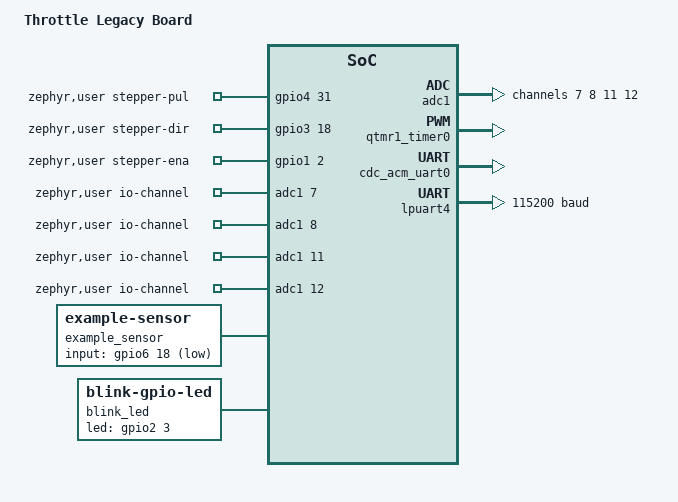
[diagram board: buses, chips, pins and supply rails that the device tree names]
/*
LPL throttle dev 2.5 PCB, from spring/summer 2025.

To find the devicetree equivalent of a teensy GPIO pin:
    1) Find the SOC pin mapped to the teensy pin using the schematic: https://www.pjrc.com/teensy/schematic.html. For
       example, teensy pin 12 -> B0_01
    2) Examine the devicetree for the teensy SOC and find the gpio bank + index corresopnding to the SOC pin:
       https://sourcegraph.com/github.com/zephyrproject-rtos/zephyr/-/blob/dts/arm/nxp/nxp_rt1060.dtsi?L90-94.
       For example:
       B0_01 ->
       ...
         GPIO bank: &gpio2
         vvvvv
       &gpio2 {
           pinmux = <&iomuxc_gpio_b0_00_gpio2_io00>,
                <&iomuxc_gpio_b0_01_gpio2_io01>,
                              ^^^^^         ^^
                              Matching pin  Index 1
       ...
       Be careful, as some pins may have very similar names. Note how we selected `iomuxc_gpio_b0_01_gpio2_io01` rather
       than `iomuxc_gpio_sd_b0_01_gpio3_io13` due to the erroneous `sd_` prefix in that other pin name.
    3) Convert this to the device tree phandle.
       For example: <&gpio2 1 GPIO_ACTIVE_HIGH>
                      ^^^   ^ ^^^^^^^^^^^^^^^^
                      Bank  |   Other GPIO config flags
                            Index

To the find devicetree ADC channel for a teensy ADC pin:
    1) Check the teensy API for how they map teensy pins to ADC channels: https://sourcegraph.com/github.com/PaulStoffregen/cores/-/blob/teensy4/analog.c?L41-86.
       Note the channel number and ADC number. Numbers less than 128 are the channel number on ADC1 while numbers that
       are `128+XYZ` use channel number XYZ on ADC2.
    2)

*/

/dts-v1/;

#include <../boards/pjrc/teensy4/teensy41.dts>

/ {
    model = "Throttle Legacy Board";

    aliases {
        pt-adc = &adc1;
        stepper-pulse-counter = &qtmr1_timer0;
    };

    zephyr,user {
        stepper-pul-gpios = <&gpio4 31 GPIO_ACTIVE_HIGH>; // Pin 29
        stepper-dir-gpios = <&gpio3 18 GPIO_ACTIVE_HIGH>; // Pin 28
        stepper-ena-gpios = <&gpio1 2 GPIO_ACTIVE_HIGH>; // Pin 4

        // HACK: For whatever reason the io-channels may be getting auto-sorted? Thus, we order our pt labels
        // corresponding to the sorted ascending order of ADC1 channels. The following corresonds to pins A0, A1, A3,
        // and A2. We really ought investigate further.
        pt-names = "pt102", "pt203", "pt204", "ptf401";
        io-channels = <&adc1 7>, <&adc1 8>, <&adc1 11>, <&adc1 12>;
    };

    chosen {
        zephyr,console = &cdc_acm_uart0;
    };

    example_sensor: example-sensor {
        compatible = "zephyr,example-sensor";
        input-gpios = <&gpio6 18 (GPIO_PULL_UP | GPIO_ACTIVE_LOW)>;
    };

    blink_led: blink-led {
        compatible = "blink-gpio-led";
        led-gpios = <&gpio2 3 GPIO_ACTIVE_HIGH>;
        blink-period-ms = <1000>;
    };
};

// Docs: https://docs.zephyrproject.org/latest/build/dts/api/bindings/pinctrl/nxp%2Cmcux-rt-pinctrl.html
&pinctrl {
    pinmux_adc1: pinmux_adc1 {
        group0 {
            pinmux = <&iomuxc_gpio_ad_b1_02_gpio1_io18>,
                     <&iomuxc_gpio_ad_b1_03_gpio1_io19>,
                     <&iomuxc_gpio_ad_b1_06_gpio1_io22>,
                     <&iomuxc_gpio_ad_b1_07_gpio1_io23>;
            bias-disable; // These should be pulled down by voltage divider
            drive-strength = "r0-6";
            slew-rate = "slow";
            nxp,speed = "100-mhz";
        };
    };
};

// Docs: https://docs.zephyrproject.org/latest/build/dts/api/bindings/adc/nxp%2Cmcux-12b1msps-sar.html
pt_adc: &adc1 {
    // She's broken, he's...
    status = "okay";
    pinctrl-0 = <&pinmux_adc1>;
    pinctrl-names = "default";
    #address-cells = <1>;
    #size-cells = <0>;

    // PT1 (top-left), pin A0 / 14, AD_B1_02
    channel@7 {
        reg = <0x7>;
        zephyr,gain = "ADC_GAIN_1";
        zephyr,reference = "ADC_REF_INTERNAL";
        zephyr,acquisition-time = <ADC_ACQ_TIME_DEFAULT>;
        zephyr,resolution = <12>; // Max for chip
        zephyr,oversampling = <5>; // 32x averaging
    };

    // PT2 (bottom-left), pin A1 / 15, AD_B1_03
    channel@8 {
        reg = <0x8>;
        zephyr,gain = "ADC_GAIN_1";
        zephyr,reference = "ADC_REF_INTERNAL";
        zephyr,acquisition-time = <ADC_ACQ_TIME_DEFAULT>;
        zephyr,resolution = <12>; // Max for chip
        zephyr,oversampling = <5>; // 32x averaging
    };

    // PT4 (top-right), pin A3 / 17, AD_B1_07
    channel@b {
        reg = <0xb>;
        zephyr,gain = "ADC_GAIN_1";
        zephyr,reference = "ADC_REF_INTERNAL";
        zephyr,acquisition-time = <ADC_ACQ_TIME_DEFAULT>;
        zephyr,resolution = <12>; // Max for chip
        zephyr,oversampling = <5>; // 32x averaging
    };

    // PT3 (bottom-right), pin A2 / 16, AD_B1_06
    channel@c {
        reg = <0xc>;
        zephyr,gain = "ADC_GAIN_1";
        zephyr,reference = "ADC_REF_INTERNAL";
        zephyr,acquisition-time = <ADC_ACQ_TIME_DEFAULT>;
        zephyr,resolution = <12>; // Max for chip
        zephyr,oversampling = <5>; // 32x averaging
    };

    // TODO - add add'l analog-ins.
};

// Timer for stepper pulses.
// Docs: https://docs.zephyrproject.org/latest/build/dts/api/bindings/counter/nxp%2Cimx-tmr.html
// Teensyduino equivalent: https://sourcegraph.com/github.com/PaulStoffregen/cores/-/blob/teensy4/IntervalTimer.cpp
&qtmr1_timer0 {
    status = "okay";
    mode = "kQTMR_PriSrcRiseEdge"; // Rising edge of primary clock source
    // Use instruction pointer clock, which is 600 MHz: https://sourcegraph.com/github.com/zephyrproject-rtos/zephyr/-/blob/dts/arm/nxp/nxp_rt10xx.dtsi?L75-79
    // These are 16-bit counters, so picking 32x clock division gets us a minimum width of ~53 ns and a maximum width of
    // ~3.5 ms. This more than covers our driver's minimum width of 2.5 us and our control loop's rough maximum interval
    // of 1 ms.
    primary-source = "kQTMR_ClockDivide_32";
};

&zephyr_udc0 {
    cdc_acm_uart0: cdc_acm_uart0 {
        compatible = "zephyr,cdc-acm-uart";
        label = "CDC_ACM_0";
    };
};

&lpuart6 {
    status = "disabled";
};

&lpuart4 {
    status = "okay";
    current-speed = <115200>;
};
